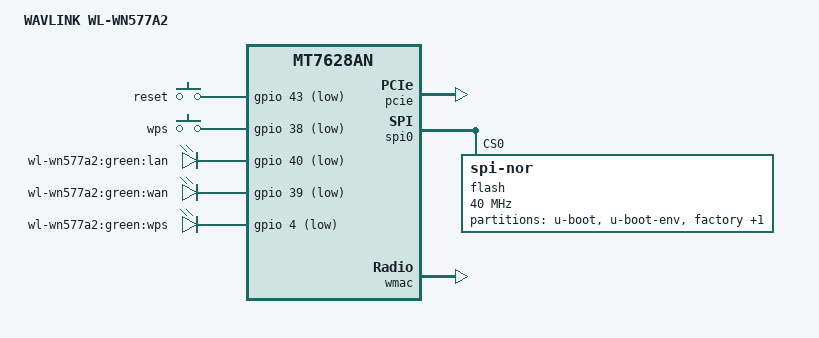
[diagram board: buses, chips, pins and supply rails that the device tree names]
// SPDX-License-Identifier: GPL-2.0-or-later OR MIT
/dts-v1/;

#include <dt-bindings/input/input.h>
#include <dt-bindings/gpio/gpio.h>

#include "mt7628an.dtsi"

/ {
	compatible = "wavlink,wl-wn577a2", "maginon,wlr-755", "mediatek,mt7628an-soc";
	model = "WAVLINK WL-WN577A2";

	aliases {
		led-boot = &led_wps;
		led-failsafe = &led_wps;
		led-running = &led_wps;
		led-upgrade = &led_wps;
	};

	keys {
		compatible = "gpio-keys";

		reset {
			label = "reset";
			gpios = <&gpio 43 GPIO_ACTIVE_LOW>;
			linux,code = <KEY_RESTART>;
		};

		wps {
			label = "wps";
			gpios = <&gpio 38 GPIO_ACTIVE_LOW>;
			linux,code = <KEY_WPS_BUTTON>;
		};
	};

	leds {
		compatible = "gpio-leds";

		lan {
			label = "wl-wn577a2:green:lan";
			gpios = <&gpio 40 GPIO_ACTIVE_LOW>;
		};

		wan {
			label = "wl-wn577a2:green:wan";
			gpios = <&gpio 39 GPIO_ACTIVE_LOW>;
		};

		led_wps: wps {
			label = "wl-wn577a2:green:wps";
			gpios = <&gpio 4 GPIO_ACTIVE_LOW>;
		};
	};
};

&state_default {
	gpio {
		groups = "i2c", "wdt", "p0led_an", "p3led_an", "p4led_an";
		function = "gpio";
	};
};

&pcie {
	status = "okay";
};

&pcie0 {
	mt76@0,0 {
		reg = <0x0000 0 0 0 0>;
		mediatek,mtd-eeprom = <&factory 0x8000>;
		ieee80211-freq-limit = <5000000 6000000>;
	};
};

&spi0 {
	status = "okay";

	flash@0 {
		compatible = "jedec,spi-nor";
		reg = <0>;
		spi-max-frequency = <40000000>;

		partitions {
			compatible = "fixed-partitions";
			#address-cells = <1>;
			#size-cells = <1>;

			partition@0 {
				label = "u-boot";
				reg = <0x0 0x30000>;
				read-only;
			};

			partition@30000 {
				label = "u-boot-env";
				reg = <0x30000 0x10000>;
				read-only;
			};

			factory: partition@40000 {
				label = "factory";
				reg = <0x40000 0x10000>;
				read-only;
			};

			partition@50000 {
				compatible = "denx,uimage";
				label = "firmware";
				reg = <0x50000 0x7b0000>;
			};
		};
	};
};

&wmac {
	status = "okay";
};

&ethernet {
	mtd-mac-address = <&factory 0x28>;
};

&esw {
	mediatek,portmap = <0x2f>;
};

&usbphy {
	status = "disabled";
};

&ehci {
	status = "disabled";
};

&ohci {
	status = "disabled";
};
